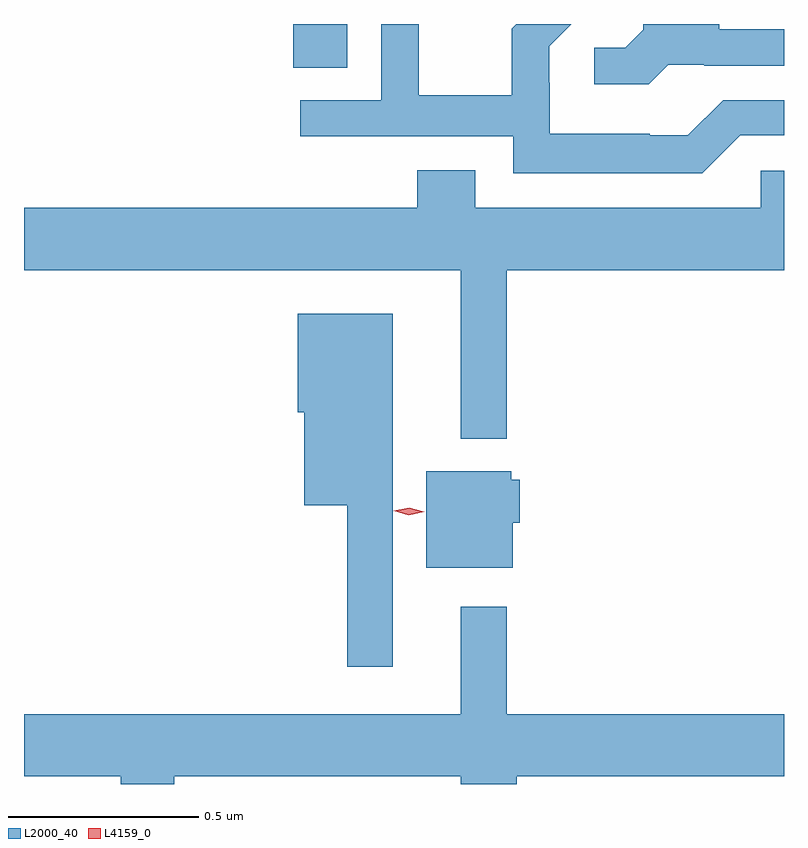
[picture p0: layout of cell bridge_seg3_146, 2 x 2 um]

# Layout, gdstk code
import gdstk
lib = gdstk.Library(unit=1e-6, precision=1e-09)
def R(c, l, rs):  # rectangles x0, y0, x1, y1
    for r in rs: c.add(gdstk.rectangle(r[:2], r[2:], *l))
def P(c, l, *ps):  # polygons
    for p in ps: c.add(gdstk.Polygon(p, *l))
L2000_40 = (2000, 40)
L4159_0 = (4159, 0)

bridge_seg3_146 = lib.new_cell('bridge_seg3_146')
R(bridge_seg3_146, L2000_40, [(370.7,696.121,370.843,696.236)])
P(bridge_seg3_146, L2000_40, [(371.688,696.129),(371.782,696.129),(371.782,696.126),(371.992,696.126),(371.992,696.222),(371.821,696.222),(371.821,696.236),(371.621,696.236),(371.621,696.221),(371.574,696.174),(371.493,696.174),(371.493,696.077),(371.636,696.077)],
  [(371.877,695.943),(371.992,695.943),(371.992,696.036),(371.832,696.036),(371.739,695.943),(371.639,695.943),(371.639,695.947),(371.376,695.947),(371.376,696.081),(371.374,696.081),(371.374,696.178),(371.432,696.236),(371.288,696.236),(371.275,696.223),(371.275,696.049),(371.031,696.049),(371.031,696.236),(370.932,696.236),(370.932,696.036),(370.719,696.036),(370.719,695.94),(371.28,695.94),(371.28,695.843),(371.777,695.843)],
  [(371.263,695.588),(371.992,695.588),(371.992,695.85),(371.931,695.85),(371.931,695.752),(371.179,695.752),(371.179,695.851),(371.027,695.851),(371.027,695.752),(369.992,695.752),(369.992,695.588),(371.141,695.588),(371.141,695.144),(371.263,695.144)],
  [(370.963,695.473),(370.712,695.473),(370.712,695.214),(370.73,695.214),(370.73,694.97),(370.842,694.97),(370.842,694.545),(370.963,694.545)],
  [(371.278,694.923),(371.296,694.923),(371.296,695.037),(371.274,695.037),(371.274,695.059),(371.051,695.059),(371.051,694.805),(371.278,694.805)],
  [(370.387,694.256),(371.141,694.256),(371.141,694.236),(371.289,694.236),(371.289,694.256),(371.992,694.256),(371.992,694.42),(371.263,694.42),(371.263,694.702),(371.141,694.702),(371.141,694.42),(369.992,694.42),(369.992,694.256),(370.247,694.256),(370.247,694.236),(370.387,694.236)])
P(bridge_seg3_146, L4159_0, [(371.005,694.943),(370.965,694.955),(370.965,694.955),(370.965,694.955),(371.006,694.963),(371.045,694.952),(371.045,694.952),(371.045,694.952)])

lib.write_gds('bridge_seg3_146.gds')
